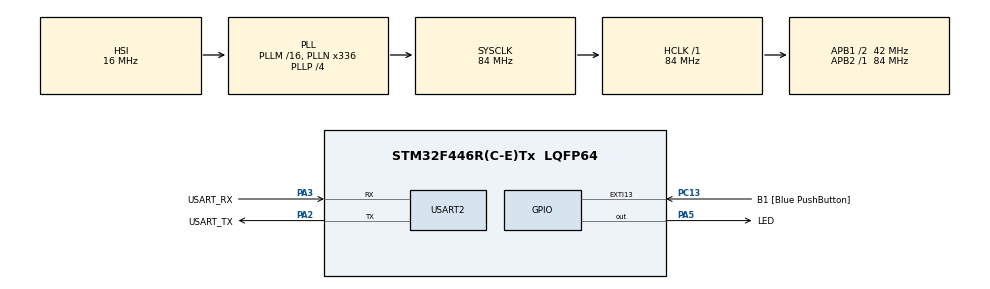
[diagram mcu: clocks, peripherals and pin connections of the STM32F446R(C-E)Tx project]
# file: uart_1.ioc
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Mcu.Family=STM32F4
Mcu.Name=STM32F446R(C-E)Tx
Mcu.Package=LQFP64
NVIC.PriorityGroup=NVIC_PRIORITYGROUP_0
NVIC.USART2_IRQn=true\:0\:0\:false\:false\:true\:true\:true\:true
PA13.GPIO_Label=TMS
PA13.Mode=Serial_Wire
PA13.Signal=SYS_JTMS-SWDIO
PA14.GPIO_Label=TCK
PA14.Mode=Serial_Wire
PA14.Signal=SYS_JTCK-SWCLK
PA2.GPIO_Label=USART_TX
PA2.Mode=Asynchronous
PA2.Signal=USART2_TX
PA3.GPIO_Label=USART_RX
PA3.Mode=Asynchronous
PA3.Signal=USART2_RX
PA5.GPIO_Label=LED
PA5.Signal=GPIO_Output
PB3.GPIO_Label=SWO
PB3.Signal=SYS_JTDO-SWO
PC13.GPIO_Label=B1 [Blue PushButton]
PC13.GPIO_ModeDefaultEXTI=GPIO_MODE_IT_FALLING
PC13.Signal=GPXTI13
PC14-OSC32_IN.Mode=LSE-External-Oscillator
PC14-OSC32_IN.Signal=RCC_OSC32_IN
PC15-OSC32_OUT.Mode=LSE-External-Oscillator
PC15-OSC32_OUT.Signal=RCC_OSC32_OUT
PH0-OSC_IN.Mode=HSE-External-Oscillator
PH0-OSC_IN.Signal=RCC_OSC_IN
PH1-OSC_OUT.Mode=HSE-External-Oscillator
PH1-OSC_OUT.Signal=RCC_OSC_OUT
ProjectManager.HeapSize=0x200
ProjectManager.StackSize=0x400
ProjectManager.TargetToolchain=STM32CubeIDE
RCC.48MHZClocksFreq_Value=84000000
RCC.AHBFreq_Value=84000000
RCC.APB1CLKDivider=RCC_HCLK_DIV2
RCC.APB1Freq_Value=42000000
RCC.APB1TimFreq_Value=84000000
RCC.APB2Freq_Value=84000000
RCC.APB2TimFreq_Value=84000000
RCC.CortexFreq_Value=84000000
RCC.FLatency-AdvancedSettings=FLASH_LATENCY_2
RCC.HCLKFreq_Value=84000000
RCC.HSE_VALUE=8000000
RCC.HSI_VALUE=16000000
RCC.PLLN=336
RCC.PLLP=RCC_PLLP_DIV4
RCC.SYSCLKFreq_VALUE=84000000
RCC.SYSCLKSource=RCC_SYSCLKSOURCE_PLLCLK
RCC.USBFreq_Value=168000000
RCC.VCOOutputFreq_Value=336000000
USART2.VirtualMode=VM_ASYNC
board=NUCLEO-F446RE

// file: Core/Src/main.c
/* USER CODE BEGIN Header */
/**
  ******************************************************************************
  * @file           : main.c
  * @brief          : Main program body
  ******************************************************************************
  * @attention
  *
  * Copyright (c) 2023 STMicroelectronics.
  * All rights reserved.
  *
  * This software is licensed under terms that can be found in the LICENSE file
  * in the root directory of this software component.
  * If no LICENSE file comes with this software, it is provided AS-IS.
  *
  ******************************************************************************
  */

/* USER CODE END Header */
#include "main.h"
#include <string.h>
#include <stdio.h>

UART_HandleTypeDef huart2;

void SystemClock_Config(void);
static void MX_GPIO_Init(void);
static void MX_USART2_UART_Init(void);

/* USER CODE BEGIN 0 */
#define BUFF_SIZE (200)
#define CHAR_CR (0x0d)
#define TRUE (1)
#define FALSE (0)

uint8_t flagRcved = FALSE;
uint16_t rcvLength;
uint8_t rcvBuffer[BUFF_SIZE];
uint8_t sndBuffer[BUFF_SIZE];

void HAL_UART_RxCpltCallback(UART_HandleTypeDef *UartHandle){
	HAL_UART_Receive_IT(&huart2, rcvBuffer, 200);
	flagRcved = TRUE;
}
/* USER CODE END 0 */

int main(void)
{

  /* MCU Configuration--------------------------------------------------------*/

  /* Reset of all peripherals, Initializes the Flash interface and the Systick. */
  HAL_Init();

  /* Configure the system clock */
  SystemClock_Config();

  /* Initialize all configured peripherals */
  MX_GPIO_Init();
  MX_USART2_UART_Init();

  /* Infinite loop */
  /* USER CODE BEGIN WHILE */
  while (1)
  {
	  do
	      {
	        /* 受信割り込み開始 */
		  	 HAL_UART_Receive_IT(&huart2, rcvBuffer, 200);

	        /* 受信割り込み終了待ち */
	        while (flagRcved == FALSE)
	        {
	        	;
	        }

	        sndBuffer[rcvLength] = rcvBuffer[0];
	        rcvLength++;
	        flagRcved = FALSE;
	      } while ((rcvBuffer[0] != CHAR_CR) && (rcvLength < BUFF_SIZE));

	      /* 受信した内容を送信 */
	      HAL_UART_Transmit_IT(&huart2, sndBuffer, rcvLength);
	      rcvLength = 0;

    /* USER CODE END WHILE */

  }
}

void SystemClock_Config(void)
{
  RCC_OscInitTypeDef RCC_OscInitStruct = {0};
  RCC_ClkInitTypeDef RCC_ClkInitStruct = {0};

  /** Configure the main internal regulator output voltage
  */
  __HAL_RCC_PWR_CLK_ENABLE();
  __HAL_PWR_VOLTAGESCALING_CONFIG(PWR_REGULATOR_VOLTAGE_SCALE3);

  /** Initializes the RCC Oscillators according to the specified parameters
  * in the RCC_OscInitTypeDef structure.
  */
  RCC_OscInitStruct.OscillatorType = RCC_OSCILLATORTYPE_HSI;
  RCC_OscInitStruct.HSIState = RCC_HSI_ON;
  RCC_OscInitStruct.HSICalibrationValue = RCC_HSICALIBRATION_DEFAULT;
  RCC_OscInitStruct.PLL.PLLState = RCC_PLL_ON;
  RCC_OscInitStruct.PLL.PLLSource = RCC_PLLSOURCE_HSI;
  RCC_OscInitStruct.PLL.PLLM = 16;
  RCC_OscInitStruct.PLL.PLLN = 336;
  RCC_OscInitStruct.PLL.PLLP = RCC_PLLP_DIV4;
  RCC_OscInitStruct.PLL.PLLQ = 2;
  RCC_OscInitStruct.PLL.PLLR = 2;
  if (HAL_RCC_OscConfig(&RCC_OscInitStruct) != HAL_OK)
  {
    Error_Handler();
  }

  /** Initializes the CPU, AHB and APB buses clocks
  */
  RCC_ClkInitStruct.ClockType = RCC_CLOCKTYPE_HCLK|RCC_CLOCKTYPE_SYSCLK
                              |RCC_CLOCKTYPE_PCLK1|RCC_CLOCKTYPE_PCLK2;
  RCC_ClkInitStruct.SYSCLKSource = RCC_SYSCLKSOURCE_PLLCLK;
  RCC_ClkInitStruct.AHBCLKDivider = RCC_SYSCLK_DIV1;
  RCC_ClkInitStruct.APB1CLKDivider = RCC_HCLK_DIV2;
  RCC_ClkInitStruct.APB2CLKDivider = RCC_HCLK_DIV1;

  if (HAL_RCC_ClockConfig(&RCC_ClkInitStruct, FLASH_LATENCY_2) != HAL_OK)
  {
    Error_Handler();
  }
}

static void MX_USART2_UART_Init(void)
{

  huart2.Instance = USART2;
  huart2.Init.BaudRate = 115200;
  huart2.Init.WordLength = UART_WORDLENGTH_8B;
  huart2.Init.StopBits = UART_STOPBITS_1;
  huart2.Init.Parity = UART_PARITY_NONE;
  huart2.Init.Mode = UART_MODE_TX_RX;
  huart2.Init.HwFlowCtl = UART_HWCONTROL_NONE;
  huart2.Init.OverSampling = UART_OVERSAMPLING_16;
  if (HAL_UART_Init(&huart2) != HAL_OK)
  {
    Error_Handler();
  }

}

static void MX_GPIO_Init(void)
{
  GPIO_InitTypeDef GPIO_InitStruct = {0};

  /* GPIO Ports Clock Enable */
  __HAL_RCC_GPIOC_CLK_ENABLE();
  __HAL_RCC_GPIOH_CLK_ENABLE();
  __HAL_RCC_GPIOA_CLK_ENABLE();
  __HAL_RCC_GPIOB_CLK_ENABLE();

  /*Configure GPIO pin Output Level */
  HAL_GPIO_WritePin(LED_GPIO_Port, LED_Pin, GPIO_PIN_RESET);

  /*Configure GPIO pin : B1_Pin */
  GPIO_InitStruct.Pin = B1_Pin;
  GPIO_InitStruct.Mode = GPIO_MODE_IT_FALLING;
  GPIO_InitStruct.Pull = GPIO_NOPULL;
  HAL_GPIO_Init(B1_GPIO_Port, &GPIO_InitStruct);

  /*Configure GPIO pin : LED_Pin */
  GPIO_InitStruct.Pin = LED_Pin;
  GPIO_InitStruct.Mode = GPIO_MODE_OUTPUT_PP;
  GPIO_InitStruct.Pull = GPIO_NOPULL;
  GPIO_InitStruct.Speed = GPIO_SPEED_FREQ_LOW;
  HAL_GPIO_Init(LED_GPIO_Port, &GPIO_InitStruct);

}

void Error_Handler(void)
{
  __disable_irq();
  while (1)
  {
  }
}
